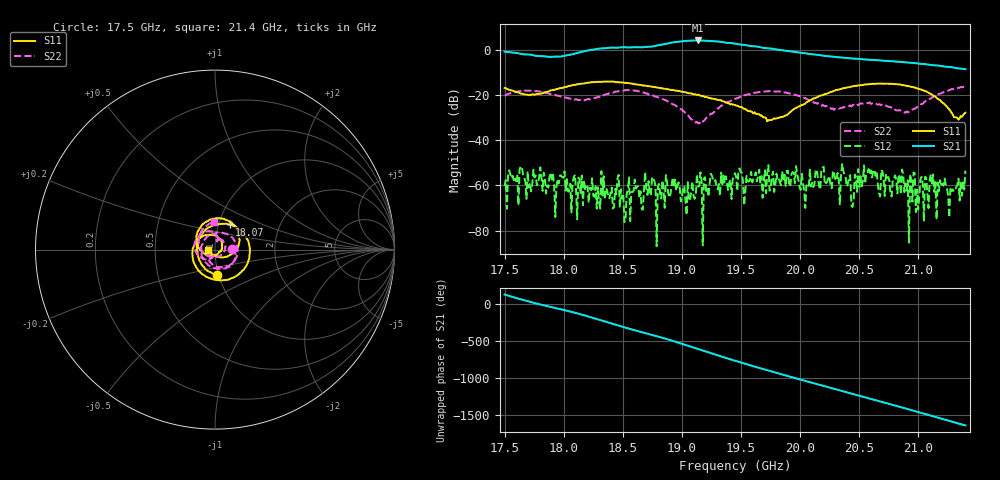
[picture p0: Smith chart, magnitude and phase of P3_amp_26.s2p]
!Created with skrf (http://scikit-rf.org).
# GHz S RI R 50.0
!freq ReS11 ImS11 ReS21 ImS21 ReS12 ImS12 ReS22 ImS22
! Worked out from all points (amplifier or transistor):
!   401 points, 17.5 GHz to 21.4 GHz, reference 50 ohm
!   highest |S21| = 4.1 dB at 19.14 GHz (marker M1)
!   |S21| within 3 dB of that: 18.67 GHz to 19.66 GHz (993.7 MHz wide, 5.18 % of centre)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
!   unconditionally stable (mu >= 1): start of sweep to end of sweep
!   at 18.14 GHz: K = 840.34, MAG = -0.9 dB, |S12| = -63.8 dB
!   at 19.45 GHz: K = 196.23, MAG = 2.7 dB, |S12| = -54.6 dB
!   at 21.4 GHz: K = 622.59, MAG = -8.5 dB, |S12| = -53.5 dB
!   S11 on the Smith chart (normalised r, x): 17.5 GHz: 0.98, -0.28; 18.07 GHz: 1.13, +0.32; 21.4 GHz: 0.92, -0.00
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17.5  0.00974 -0.142  -0.5925 0.6846  -0.000949 0.0002  0.0972 0.00254
17.7535  -0.0985 0.0219  0.7122 0.2001  -0.001 0.0011  0.0745 -0.0981
18.0655  0.0812 0.1399  -0.1806 -0.761  -0.000116 -0.000223  -0.0741 -0.039
18.15325  0.141 0.1065  -0.6929 -0.5649  0.00162 0.000274  -0.0764 0.0188
18.28975  0.1941 0.00323  -0.9494 0.4401  0.000409 0.000803  -0.0123 0.0895
18.436  0.1531 -0.1166  0.1085 1.098  0.000585 -0.000591  0.0987 0.0655
18.6115  0.0175 -0.1695  1.129 0.0673  -0.000569 -0.000624  0.0997 -0.0744
18.8065  -0.1063 -0.0976  0.2101 -1.244  0.000779 -0.000739  -0.00907 -0.0864
18.904  -0.125 -0.0329  -0.8346 -1.141  -0.000426 -0.000467  -0.0322 -0.0578
19.0015  -0.1142 0.0247  -1.533 -0.1158  -0.000296 0.000479  -0.035 -0.031
19.138  -0.064 0.0781  -0.6278 1.469  -0.000913 0.000199  -0.0143 -0.0186
19.30375  0.00275 0.0776  1.338 0.7131  0.000471 0.000662  -0.0168 -0.047
19.45  0.0351 0.0488  0.9673 -0.9549  0.00174 0.000642  -0.0646 -0.0519
19.567  0.0388 0.0197  -0.2202 -1.203  0.0011 0.000506  -0.1026 -0.0217
19.73275  0.0226 -0.0159  -1.075 -0.0726  0.00225 -0.00164  -0.1056 0.0581
19.918  -0.0246 -0.0336  -0.1494 0.9081  0.000428 -0.000836  -0.0314 0.1023
20.10325  -0.0803 -0.00478  0.7557 0.2332  -0.00111 0.00028  0.015 0.07
20.35675  -0.0979 0.0976  -0.0322 -0.6679  -0.00187 0.0023  0.0111 0.0505
20.55175  -0.0261 0.1684  -0.6079 -0.0265  -0.000232 0.00107  0.0371 0.0549
20.7565  0.084 0.1536  -0.0208 0.5607  0.000737 0.00107  0.0541 -0.00332
21.127  0.0935 -0.0244  0.1182 -0.4379  -0.000415 -0.00169  -0.0867 0.0211
21.4  -0.0403 -0.00157  -0.3484 0.1235  -0.00131 -0.00166  -0.00682 0.1564
